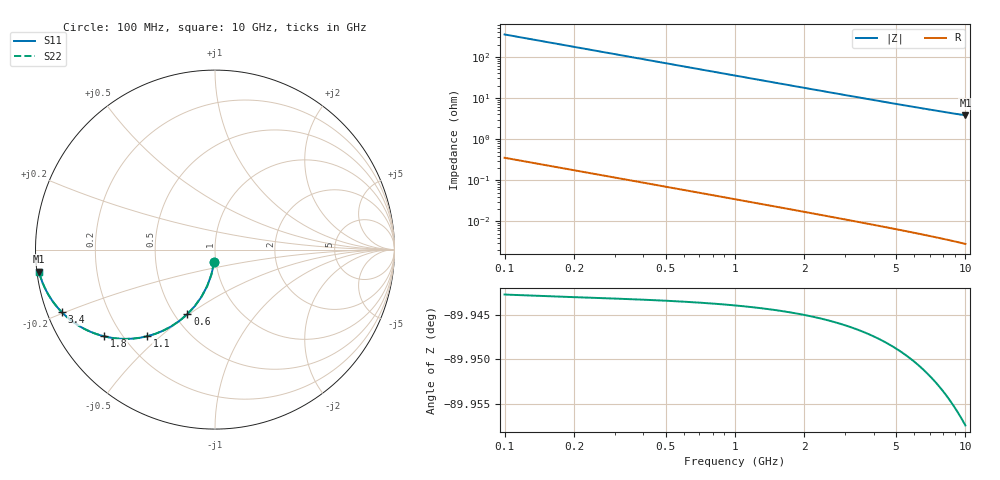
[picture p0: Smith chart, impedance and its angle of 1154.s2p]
# Hz S RI R 50.00
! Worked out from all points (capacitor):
!   100 points, 100 MHz to 10 GHz, reference 50 ohm
!   read as one part in shunt: C = 4.52 pF near 100 MHz
!   lowest |Z| = 3.8 ohm at 10 GHz (marker M1)
!   S11 on the Smith chart (normalised r, x): 100 MHz: 0.98, -0.14; 600 MHz: 0.58, -0.49; 1.1 GHz: 0.29, -0.45; 1.8 GHz: 0.13, -0.34; 3.4 GHz: 0.04, -0.20; 10 GHz: 0.01, -0.06
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1e8  -0.00504 -0.0705  0.9949 -0.0707  0.9949 -0.0707  -0.00504 -0.0705
2e8  -0.0198 -0.1388  0.9801 -0.1393  0.9801 -0.1393  -0.0198 -0.1388
3e8  -0.0435 -0.2031  0.9565 -0.2039  0.9565 -0.2039  -0.0435 -0.2031
4e8  -0.0747 -0.262  0.9252 -0.263  0.9252 -0.263  -0.0747 -0.262
5e8  -0.1119 -0.3142  0.888 -0.3155  0.888 -0.3155  -0.1119 -0.3142
6e8  -0.1535 -0.3593  0.8464 -0.3608  0.8464 -0.3608  -0.1535 -0.3593
7e8  -0.1979 -0.3971  0.802 -0.3989  0.802 -0.3989  -0.1979 -0.3971
8e8  -0.2437 -0.4278  0.7562 -0.4298  0.7562 -0.4298  -0.2437 -0.4278
9e8  -0.2896 -0.4519  0.7103 -0.4542  0.7103 -0.4542  -0.2896 -0.4519
1.1e9  -0.3783 -0.4831  0.6216 -0.4859  0.6216 -0.4859  -0.3783 -0.4831
1.4e9  -0.4962 -0.4977  0.5037 -0.5013  0.5037 -0.5013  -0.4962 -0.4977
1.6e9  -0.5625 -0.4935  0.4374 -0.4976  0.4374 -0.4976  -0.5625 -0.4935
1.8e9  -0.6193 -0.4828  0.3806 -0.4873  0.3806 -0.4873  -0.6193 -0.4828
2.1e9  -0.6888 -0.4598  0.3112 -0.4652  0.3112 -0.4652  -0.6888 -0.4598
2.5e9  -0.7581 -0.4245  0.2418 -0.4309  0.2418 -0.4309  -0.7581 -0.4245
2.9e9  -0.8083 -0.3894  0.1916 -0.3968  0.1916 -0.3968  -0.8083 -0.3894
3.4e9  -0.8528 -0.3494  0.1471 -0.3581  0.1471 -0.3581  -0.8528 -0.3494
4.2e9  -0.8984 -0.2961  0.1015 -0.307  0.1015 -0.307  -0.8984 -0.2961
5.1e9  -0.9288 -0.2498  0.071 -0.2631  0.071 -0.2631  -0.9288 -0.2498
6.7e9  -0.9576 -0.1918  0.0421 -0.2094  0.0421 -0.2094  -0.9576 -0.1918
8.4e9  -0.9728 -0.1504  0.0269 -0.1728  0.0269 -0.1728  -0.9728 -0.1504
1e10  -0.9808 -0.1223  0.0187 -0.1494  0.0187 -0.1494  -0.9808 -0.1223
